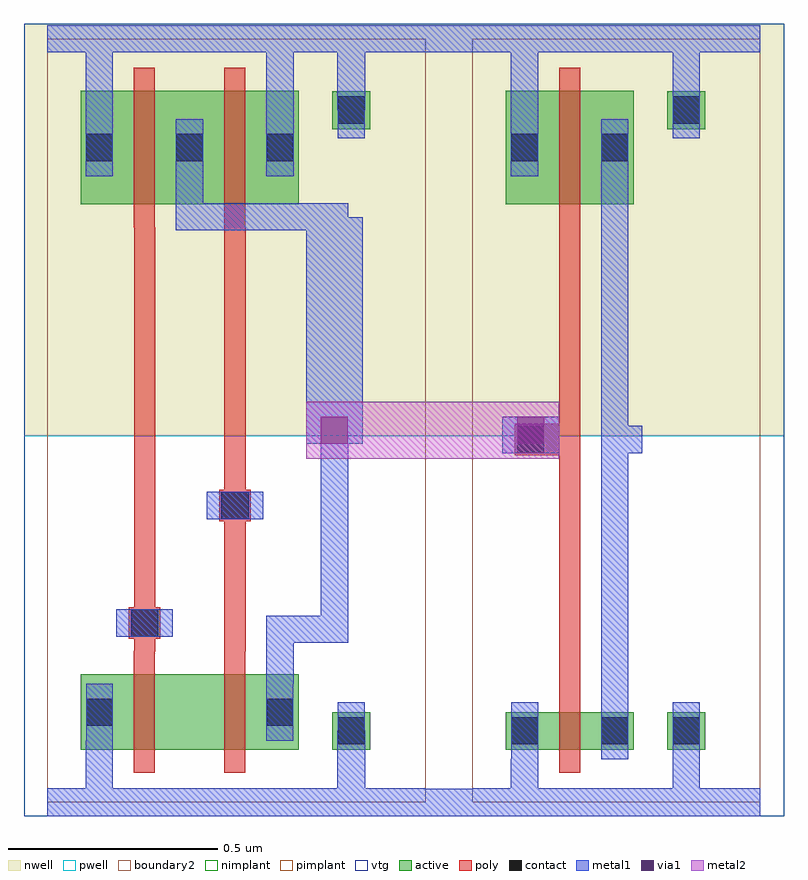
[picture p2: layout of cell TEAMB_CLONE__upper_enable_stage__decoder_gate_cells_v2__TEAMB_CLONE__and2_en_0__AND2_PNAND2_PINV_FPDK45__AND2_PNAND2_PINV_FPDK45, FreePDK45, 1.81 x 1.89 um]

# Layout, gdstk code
import gdstk
lib = gdstk.Library(unit=1e-6, precision=1e-09)
def R(c, l, rs):  # rectangles x0, y0, x1, y1
    for r in rs: c.add(gdstk.rectangle(r[:2], r[2:], *l))
active = (1, 0)
pwell = (2, 0)
nwell = (3, 0)
nimplant = (4, 0)
pimplant = (5, 0)
vtg = (6, 0)
poly = (9, 0)
contact = (10, 0)
metal1 = (11, 0)
via1 = (12, 0)
metal2 = (13, 0)
boundary2 = (239, 0)

teamb_clone__upper_enabl = lib.new_cell('TEAMB_CLONE__upper_enable_stage__decoder_gate_cells_v2__TEAMB_CLONE__and2_en_0__AND2_PNAND2_PINV_FPDK45__TEAMB_CLONE__nand__PNAND2_NW180_PW270_L50_FPDK45__PNAND2_NW180_PW270_L50_FPDK45_contact_8')
R(teamb_clone__upper_enabl, active, [(0,0.022,0.09,0.112)])
R(teamb_clone__upper_enabl, nwell, [(-0.055,-0.033,0.145,0.168)])
R(teamb_clone__upper_enabl, pimplant, [(0,0.022,0.09,0.112)])
R(teamb_clone__upper_enabl, contact, [(0.013,0.035,0.077,0.1)])
R(teamb_clone__upper_enabl, metal1, [(0.013,0,0.077,0.135)])
R(teamb_clone__upper_enabl, boundary2, [(-0.055,-0.033,0.145,0.168)])

c_teamb_clone__upper_enabl = lib.new_cell('TEAMB_CLONE__upper_enable_stage__decoder_gate_cells_v2__TEAMB_CLONE__and2_en_0__AND2_PNAND2_PINV_FPDK45__TEAMB_CLONE__nand__PNAND2_NW180_PW270_L50_FPDK45__PNAND2_NW180_PW270_L50_FPDK45_pmos_m1_w0_270_sm1_dm1')
R(c_teamb_clone__upper_enabl, active, [(0,0,0.305,0.27)])
R(c_teamb_clone__upper_enabl, nwell, [(-0.08,-0.08,0.385,0.35)])
R(c_teamb_clone__upper_enabl, pimplant, [(0,0,0.305,0.27)])
R(c_teamb_clone__upper_enabl, vtg, [(-0.08,-0.08,0.385,0.35)])
R(c_teamb_clone__upper_enabl, poly, [(0.127,-0.055,0.177,0.325), (0.127,-0.055,0.177,0.325)])
R(c_teamb_clone__upper_enabl, metal1, [(0.013,0.068,0.077,0.203), (0.227,0.068,0.292,0.203)])
R(c_teamb_clone__upper_enabl, boundary2, [(-0.08,-0.08,0.385,0.35)])
c_teamb_clone__upper_enabl.add(gdstk.Reference(teamb_clone__upper_enabl, (0,0.068)))
c_teamb_clone__upper_enabl.add(gdstk.Reference(teamb_clone__upper_enabl, (0.215,0.068)))

c_teamb_clone__upper_enabl_ = lib.new_cell('TEAMB_CLONE__upper_enable_stage__decoder_gate_cells_v2__TEAMB_CLONE__and2_en_0__AND2_PNAND2_PINV_FPDK45__TEAMB_CLONE__nand__PNAND2_NW180_PW270_L50_FPDK45__PNAND2_NW180_PW270_L50_FPDK45_contact_7')
R(c_teamb_clone__upper_enabl_, active, [(0,0.022,0.09,0.112)])
R(c_teamb_clone__upper_enabl_, pwell, [(-0.055,-0.033,0.145,0.168)])
R(c_teamb_clone__upper_enabl_, nimplant, [(0,0.022,0.09,0.112)])
R(c_teamb_clone__upper_enabl_, contact, [(0.013,0.035,0.077,0.1)])
R(c_teamb_clone__upper_enabl_, metal1, [(0.013,0,0.077,0.135)])
R(c_teamb_clone__upper_enabl_, boundary2, [(-0.055,-0.033,0.145,0.168)])

c_teamb_clone__upper_enabl__ = lib.new_cell('TEAMB_CLONE__upper_enable_stage__decoder_gate_cells_v2__TEAMB_CLONE__and2_en_0__AND2_PNAND2_PINV_FPDK45__TEAMB_CLONE__nand__PNAND2_NW180_PW270_L50_FPDK45__PNAND2_NW180_PW270_L50_FPDK45_nmos_m1_w0_180_sm1_dactive')
R(c_teamb_clone__upper_enabl__, active, [(0,0,0.305,0.18), (0.215,0.045,0.305,0.135)])
R(c_teamb_clone__upper_enabl__, pwell, [(-0.08,-0.08,0.385,0.26)])
R(c_teamb_clone__upper_enabl__, nimplant, [(0,0,0.305,0.18)])
R(c_teamb_clone__upper_enabl__, vtg, [(-0.08,-0.08,0.385,0.26)])
R(c_teamb_clone__upper_enabl__, poly, [(0.127,-0.055,0.177,0.235), (0.127,-0.055,0.177,0.235)])
R(c_teamb_clone__upper_enabl__, metal1, [(0.013,0.022,0.077,0.157)])
R(c_teamb_clone__upper_enabl__, boundary2, [(-0.08,-0.08,0.385,0.26)])
c_teamb_clone__upper_enabl__.add(gdstk.Reference(c_teamb_clone__upper_enabl_, (0,0.022)))

c_teamb_clone__upper_enabl___ = lib.new_cell('TEAMB_CLONE__upper_enable_stage__decoder_gate_cells_v2__TEAMB_CLONE__and2_en_0__AND2_PNAND2_PINV_FPDK45__TEAMB_CLONE__nand__PNAND2_NW180_PW270_L50_FPDK45__PNAND2_NW180_PW270_L50_FPDK45_nmos_m1_w0_180_sactive_dm1')
R(c_teamb_clone__upper_enabl___, active, [(0,0,0.305,0.18), (0,0.045,0.09,0.135)])
R(c_teamb_clone__upper_enabl___, pwell, [(-0.08,-0.08,0.385,0.26)])
R(c_teamb_clone__upper_enabl___, nimplant, [(0,0,0.305,0.18)])
R(c_teamb_clone__upper_enabl___, vtg, [(-0.08,-0.08,0.385,0.26)])
R(c_teamb_clone__upper_enabl___, poly, [(0.127,-0.055,0.177,0.235), (0.127,-0.055,0.177,0.235)])
R(c_teamb_clone__upper_enabl___, metal1, [(0.227,0.022,0.292,0.157)])
R(c_teamb_clone__upper_enabl___, boundary2, [(-0.08,-0.08,0.385,0.26)])
c_teamb_clone__upper_enabl___.add(gdstk.Reference(c_teamb_clone__upper_enabl_, (0.215,0.022)))

c_teamb_clone__upper_enabl____ = lib.new_cell('TEAMB_CLONE__upper_enable_stage__decoder_gate_cells_v2__TEAMB_CLONE__and2_en_0__AND2_PNAND2_PINV_FPDK45__TEAMB_CLONE__nand__PNAND2_NW180_PW270_L50_FPDK45__PNAND2_NW180_PW270_L50_FPDK45_contact_9')
R(c_teamb_clone__upper_enabl____, active, [(0,0.022,0.09,0.112)])
R(c_teamb_clone__upper_enabl____, nwell, [(-0.055,-0.033,0.145,0.168)])
R(c_teamb_clone__upper_enabl____, nimplant, [(0,0.022,0.09,0.112)])
R(c_teamb_clone__upper_enabl____, contact, [(0.013,0.035,0.077,0.1)])
R(c_teamb_clone__upper_enabl____, metal1, [(0.013,0,0.077,0.135)])
R(c_teamb_clone__upper_enabl____, boundary2, [(-0.055,-0.033,0.145,0.168)])

c_teamb_clone__upper_enabl_____ = lib.new_cell('TEAMB_CLONE__upper_enable_stage__decoder_gate_cells_v2__TEAMB_CLONE__and2_en_0__AND2_PNAND2_PINV_FPDK45__TEAMB_CLONE__nand__PNAND2_NW180_PW270_L50_FPDK45__PNAND2_NW180_PW270_L50_FPDK45_contact_10')
R(c_teamb_clone__upper_enabl_____, active, [(0,0.022,0.09,0.112)])
R(c_teamb_clone__upper_enabl_____, pwell, [(-0.055,-0.033,0.145,0.168)])
R(c_teamb_clone__upper_enabl_____, pimplant, [(0,0.022,0.09,0.112)])
R(c_teamb_clone__upper_enabl_____, contact, [(0.013,0.035,0.077,0.1)])
R(c_teamb_clone__upper_enabl_____, metal1, [(0.013,0,0.077,0.135)])
R(c_teamb_clone__upper_enabl_____, boundary2, [(-0.055,-0.033,0.145,0.168)])

c_teamb_clone__upper_enabl______ = lib.new_cell('TEAMB_CLONE__upper_enable_stage__decoder_gate_cells_v2__TEAMB_CLONE__and2_en_0__AND2_PNAND2_PINV_FPDK45__TEAMB_CLONE__nand__PNAND2_NW180_PW270_L50_FPDK45__PNAND2_NW180_PW270_L50_FPDK45_contact_11')
R(c_teamb_clone__upper_enabl______, poly, [(0.03,0,0.105,0.075)])
R(c_teamb_clone__upper_enabl______, contact, [(0.035,0.005,0.1,0.07)])
R(c_teamb_clone__upper_enabl______, metal1, [(0,0.005,0.135,0.07)])
R(c_teamb_clone__upper_enabl______, boundary2, [(0,0,0.135,0.075)])

c_teamb_clone__upper_enabl_______ = lib.new_cell('TEAMB_CLONE__upper_enable_stage__decoder_gate_cells_v2__TEAMB_CLONE__and2_en_0__AND2_PNAND2_PINV_FPDK45__TEAMB_CLONE__nand__PNAND2_NW180_PW270_L50_FPDK45__PNAND2_NW180_PW270_L50_FPDK45_pnand2')
R(c_teamb_clone__upper_enabl_______, pwell, [(-0.055,-0.033,0.957,0.873)])
R(c_teamb_clone__upper_enabl_______, nwell, [(-0.055,0.873,0.957,1.855)])
R(c_teamb_clone__upper_enabl_______, vtg, [(-0.055,-0.033,0.957,0.873), (-0.055,0.873,0.957,1.855)])
R(c_teamb_clone__upper_enabl_______, poly, [(0.208,0.36,0.258,1.37), (0.422,0.36,0.473,1.37), (0.208,0.39,0.232,0.465), (0.422,0.67,0.447,0.745)])
R(c_teamb_clone__upper_enabl_______, metal1, [(0,-0.033,0.902,0.033), (0.092,-0.033,0.157,0.147), (0.692,0,0.758,0.17), (0.522,0.283,0.588,0.413), (0.522,0.38,0.588,0.445), (0.555,0.38,0.685,0.445), (0.652,0.38,0.718,0.445), (0.165,0.395,0.3,0.46), (0.652,0.413,0.718,1.395), (0.38,0.675,0.515,0.74), (0.307,1.363,0.372,1.427), (0.34,1.363,0.685,1.427), (0.652,1.363,0.718,1.427), (0.307,1.395,0.372,1.492), (0.092,1.492,0.157,1.852), (0.522,1.492,0.588,1.852), (0.692,1.65,0.758,1.82), (0,1.787,0.902,1.852)])
R(c_teamb_clone__upper_enabl_______, boundary2, [(0,0,0.902,1.82), (0,0,0.902,1.82)])
c_teamb_clone__upper_enabl_______.add(gdstk.Reference(c_teamb_clone__upper_enabl, (0.08,1.425)))
c_teamb_clone__upper_enabl_______.add(gdstk.Reference(c_teamb_clone__upper_enabl, (0.295,1.425)))
c_teamb_clone__upper_enabl_______.add(gdstk.Reference(c_teamb_clone__upper_enabl__, (0.08,0.125)))
c_teamb_clone__upper_enabl_______.add(gdstk.Reference(c_teamb_clone__upper_enabl___, (0.295,0.125)))
c_teamb_clone__upper_enabl_______.add(gdstk.Reference(c_teamb_clone__upper_enabl____, (0.68,1.582)))
c_teamb_clone__upper_enabl_______.add(gdstk.Reference(c_teamb_clone__upper_enabl_____, (0.68,0.103)))
c_teamb_clone__upper_enabl_______.add(gdstk.Reference(c_teamb_clone__upper_enabl______, (0.165,0.39)))
c_teamb_clone__upper_enabl_______.add(gdstk.Reference(c_teamb_clone__upper_enabl______, (0.38,0.67)))

c_teamb_clone__upper_enabl________ = lib.new_cell('TEAMB_CLONE__upper_enable_stage__decoder_gate_cells_v2__TEAMB_CLONE__and2_en_0__AND2_PNAND2_PINV_FPDK45__TEAMB_CLONE__nand__PNAND2_NW180_PW270_L50_FPDK45__PNAND2_NW180_PW270_L50_FPDK45')
R(c_teamb_clone__upper_enabl________, metal1, [(0,-0.033,0.902,0.033), (0.165,0.395,0.3,0.46), (0.38,0.675,0.515,0.74), (0.652,1.363,0.718,1.427), (0,1.787,0.902,1.852)])
R(c_teamb_clone__upper_enabl________, boundary2, [(0,0,0.902,1.82)])
c_teamb_clone__upper_enabl________.add(gdstk.Reference(c_teamb_clone__upper_enabl_______, (0,0)))

c_teamb_clone__upper_enabl_________ = lib.new_cell('TEAMB_CLONE__upper_enable_stage__decoder_gate_cells_v2__TEAMB_CLONE__and2_en_0__AND2_PNAND2_PINV_FPDK45__TEAMB_CLONE__inv__PINV_NW90_PW270_L50__TRANSMISSION_GATE_NW250_PW500_L50_contact_8')
R(c_teamb_clone__upper_enabl_________, active, [(0,0.022,0.09,0.112)])
R(c_teamb_clone__upper_enabl_________, nwell, [(-0.055,-0.033,0.145,0.168)])
R(c_teamb_clone__upper_enabl_________, pimplant, [(0,0.022,0.09,0.112)])
R(c_teamb_clone__upper_enabl_________, contact, [(0.013,0.035,0.077,0.1)])
R(c_teamb_clone__upper_enabl_________, metal1, [(0.013,0,0.077,0.135)])
R(c_teamb_clone__upper_enabl_________, boundary2, [(-0.055,-0.033,0.145,0.168)])

c_teamb_clone__upper_enabl__________ = lib.new_cell('TEAMB_CLONE__upper_enable_stage__decoder_gate_cells_v2__TEAMB_CLONE__and2_en_0__AND2_PNAND2_PINV_FPDK45__TEAMB_CLONE__inv__PINV_NW90_PW270_L50__PINV_NW180_PW270_L50_pmos_m1_w0_270_sm1_dm1_da_p')
R(c_teamb_clone__upper_enabl__________, active, [(0,0,0.305,0.27)])
R(c_teamb_clone__upper_enabl__________, nwell, [(-0.08,-0.08,0.385,0.35)])
R(c_teamb_clone__upper_enabl__________, pimplant, [(0,0,0.305,0.27)])
R(c_teamb_clone__upper_enabl__________, vtg, [(-0.08,-0.08,0.385,0.35)])
R(c_teamb_clone__upper_enabl__________, poly, [(0.127,-0.055,0.177,0.325), (0.127,-0.055,0.177,0.325)])
R(c_teamb_clone__upper_enabl__________, metal1, [(0.013,0.068,0.077,0.203), (0.227,0.068,0.292,0.203)])
R(c_teamb_clone__upper_enabl__________, boundary2, [(-0.08,-0.08,0.385,0.35)])
c_teamb_clone__upper_enabl__________.add(gdstk.Reference(c_teamb_clone__upper_enabl_________, (0,0.068)))
c_teamb_clone__upper_enabl__________.add(gdstk.Reference(c_teamb_clone__upper_enabl_________, (0.215,0.068)))

c_teamb_clone__upper_enabl___________ = lib.new_cell('TEAMB_CLONE__upper_enable_stage__decoder_gate_cells_v2__TEAMB_CLONE__and2_en_0__AND2_PNAND2_PINV_FPDK45__TEAMB_CLONE__inv__PINV_NW90_PW270_L50__TRANSMISSION_GATE_NW250_PW500_L50_contact_7')
R(c_teamb_clone__upper_enabl___________, active, [(0,0.022,0.09,0.112)])
R(c_teamb_clone__upper_enabl___________, pwell, [(-0.055,-0.033,0.145,0.168)])
R(c_teamb_clone__upper_enabl___________, nimplant, [(0,0.022,0.09,0.112)])
R(c_teamb_clone__upper_enabl___________, contact, [(0.013,0.035,0.077,0.1)])
R(c_teamb_clone__upper_enabl___________, metal1, [(0.013,0,0.077,0.135)])
R(c_teamb_clone__upper_enabl___________, boundary2, [(-0.055,-0.033,0.145,0.168)])

c_teamb_clone__upper_enabl____________ = lib.new_cell('TEAMB_CLONE__upper_enable_stage__decoder_gate_cells_v2__TEAMB_CLONE__and2_en_0__AND2_PNAND2_PINV_FPDK45__TEAMB_CLONE__inv__PINV_NW90_PW270_L50__PINV_NW90_PW270_L50_nmos_m1_w0_090_sm1_dm1_da_p')
R(c_teamb_clone__upper_enabl____________, active, [(0,0,0.305,0.09)])
R(c_teamb_clone__upper_enabl____________, pwell, [(-0.08,-0.08,0.385,0.17)])
R(c_teamb_clone__upper_enabl____________, nimplant, [(0,0,0.305,0.09)])
R(c_teamb_clone__upper_enabl____________, vtg, [(-0.08,-0.08,0.385,0.17)])
R(c_teamb_clone__upper_enabl____________, poly, [(0.127,-0.055,0.177,0.145), (0.127,-0.055,0.177,0.145)])
R(c_teamb_clone__upper_enabl____________, metal1, [(0.013,-0.022,0.077,0.112), (0.227,-0.022,0.292,0.112)])
R(c_teamb_clone__upper_enabl____________, boundary2, [(-0.08,-0.08,0.385,0.17)])
c_teamb_clone__upper_enabl____________.add(gdstk.Reference(c_teamb_clone__upper_enabl___________, (0,-0.022)))
c_teamb_clone__upper_enabl____________.add(gdstk.Reference(c_teamb_clone__upper_enabl___________, (0.215,-0.022)))

c_teamb_clone__upper_enabl_____________ = lib.new_cell('TEAMB_CLONE__upper_enable_stage__decoder_gate_cells_v2__TEAMB_CLONE__and2_en_0__AND2_PNAND2_PINV_FPDK45__TEAMB_CLONE__inv__PINV_NW90_PW270_L50__TRANSMISSION_GATE_NW250_PW500_L50_contact_9')
R(c_teamb_clone__upper_enabl_____________, active, [(0,0.022,0.09,0.112)])
R(c_teamb_clone__upper_enabl_____________, nwell, [(-0.055,-0.033,0.145,0.168)])
R(c_teamb_clone__upper_enabl_____________, nimplant, [(0,0.022,0.09,0.112)])
R(c_teamb_clone__upper_enabl_____________, contact, [(0.013,0.035,0.077,0.1)])
R(c_teamb_clone__upper_enabl_____________, metal1, [(0.013,0,0.077,0.135)])
R(c_teamb_clone__upper_enabl_____________, boundary2, [(-0.055,-0.033,0.145,0.168)])

c_teamb_clone__upper_enabl______________ = lib.new_cell('TEAMB_CLONE__upper_enable_stage__decoder_gate_cells_v2__TEAMB_CLONE__and2_en_0__AND2_PNAND2_PINV_FPDK45__TEAMB_CLONE__inv__PINV_NW90_PW270_L50__TRANSMISSION_GATE_NW250_PW500_L50_contact_10')
R(c_teamb_clone__upper_enabl______________, active, [(0,0.022,0.09,0.112)])
R(c_teamb_clone__upper_enabl______________, pwell, [(-0.055,-0.033,0.145,0.168)])
R(c_teamb_clone__upper_enabl______________, pimplant, [(0,0.022,0.09,0.112)])
R(c_teamb_clone__upper_enabl______________, contact, [(0.013,0.035,0.077,0.1)])
R(c_teamb_clone__upper_enabl______________, metal1, [(0.013,0,0.077,0.135)])
R(c_teamb_clone__upper_enabl______________, boundary2, [(-0.055,-0.033,0.145,0.168)])

c_teamb_clone__upper_enabl_______________ = lib.new_cell('TEAMB_CLONE__upper_enable_stage__decoder_gate_cells_v2__TEAMB_CLONE__and2_en_0__AND2_PNAND2_PINV_FPDK45__TEAMB_CLONE__inv__PINV_NW90_PW270_L50__PINV_NW180_PW270_L50_contact_11')
R(c_teamb_clone__upper_enabl_______________, poly, [(0.03,0,0.105,0.075)])
R(c_teamb_clone__upper_enabl_______________, contact, [(0.035,0.005,0.1,0.07)])
R(c_teamb_clone__upper_enabl_______________, metal1, [(0,0.005,0.135,0.07)])
R(c_teamb_clone__upper_enabl_______________, boundary2, [(0,0,0.135,0.075)])

c_teamb_clone__upper_enabl________________ = lib.new_cell('TEAMB_CLONE__upper_enable_stage__decoder_gate_cells_v2__TEAMB_CLONE__and2_en_0__AND2_PNAND2_PINV_FPDK45__TEAMB_CLONE__inv__PINV_NW90_PW270_L50__PINV_NW90_PW270_L50_core')
R(c_teamb_clone__upper_enabl________________, pwell, [(-0.055,-0.033,0.743,0.873)])
R(c_teamb_clone__upper_enabl________________, nwell, [(-0.055,0.873,0.743,1.855)])
R(c_teamb_clone__upper_enabl________________, vtg, [(-0.055,-0.033,0.743,0.873), (-0.055,0.873,0.743,1.855)])
R(c_teamb_clone__upper_enabl________________, poly, [(0.208,0.27,0.258,1.37), (0.14,0.827,0.208,0.902)])
R(c_teamb_clone__upper_enabl________________, metal1, [(0,-0.033,0.687,0.033), (0.092,-0.033,0.157,0.103), (0.478,0,0.542,0.17), (0.307,0.103,0.372,1.627), (0.072,0.832,0.208,0.897), (0.34,0.832,0.405,0.897), (0.092,1.492,0.157,1.852), (0.478,1.65,0.542,1.82), (0,1.787,0.687,1.852)])
R(c_teamb_clone__upper_enabl________________, boundary2, [(0,0,0.687,1.82), (0,0,0.687,1.82)])
c_teamb_clone__upper_enabl________________.add(gdstk.Reference(c_teamb_clone__upper_enabl__________, (0.08,1.425)))
c_teamb_clone__upper_enabl________________.add(gdstk.Reference(c_teamb_clone__upper_enabl____________, (0.08,0.125)))
c_teamb_clone__upper_enabl________________.add(gdstk.Reference(c_teamb_clone__upper_enabl_____________, (0.465,1.582)))
c_teamb_clone__upper_enabl________________.add(gdstk.Reference(c_teamb_clone__upper_enabl______________, (0.465,0.103)))
c_teamb_clone__upper_enabl________________.add(gdstk.Reference(c_teamb_clone__upper_enabl_______________, (0.072,0.827)))

c_teamb_clone__upper_enabl_________________ = lib.new_cell('TEAMB_CLONE__upper_enable_stage__decoder_gate_cells_v2__TEAMB_CLONE__and2_en_0__AND2_PNAND2_PINV_FPDK45__TEAMB_CLONE__inv__PINV_NW90_PW270_L50__PINV_NW90_PW270_L50')
R(c_teamb_clone__upper_enabl_________________, metal1, [(0,-0.033,0.687,0.033), (0.072,0.832,0.208,0.897), (0.34,0.832,0.405,0.897), (0,1.787,0.687,1.852)])
R(c_teamb_clone__upper_enabl_________________, boundary2, [(0,0,0.687,1.82)])
c_teamb_clone__upper_enabl_________________.add(gdstk.Reference(c_teamb_clone__upper_enabl________________, (0,0)))

c_teamb_clone__upper_enabl__________________ = lib.new_cell('TEAMB_CLONE__upper_enable_stage__decoder_gate_cells_v2__TEAMB_CLONE__and2_en_0__AND2_PNAND2_PINV_FPDK45__AND2_PNAND2_PINV_FPDK45')
R(c_teamb_clone__upper_enabl__________________, metal1, [(0.055,0,1.755,0.065), (0.672,0.888,0.807,1.427), (1.14,0.888,1.275,0.952), (0.055,1.82,1.755,1.885)])
R(c_teamb_clone__upper_enabl__________________, via1, [(0.707,0.888,0.772,0.952), (1.175,0.888,1.24,0.952)])
R(c_teamb_clone__upper_enabl__________________, metal2, [(0.672,0.852,0.807,0.987), (0.74,0.852,1.207,0.987), (1.14,0.852,1.275,0.987)])
c_teamb_clone__upper_enabl__________________.add(gdstk.Reference(c_teamb_clone__upper_enabl________, (0.055,0.033)))
c_teamb_clone__upper_enabl__________________.add(gdstk.Reference(c_teamb_clone__upper_enabl_________________, (1.068,0.033)))

lib.write_gds('TEAMB_CLONE__upper_enable_stage__decoder_gate_cells_v2__TEAMB_CLONE__and2_en_0__AND2_PNAND2_PINV_FPDK45__AND2_PNAND2_PINV_FPDK45.gds')
